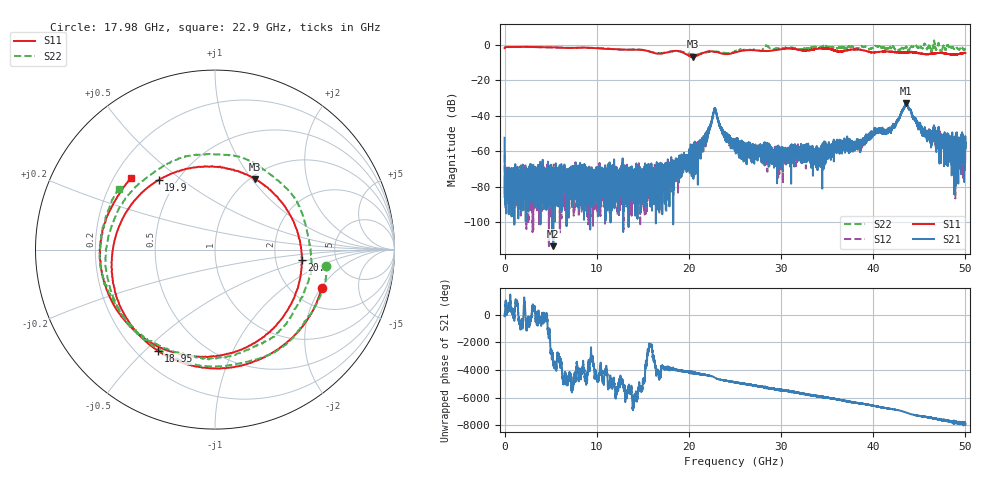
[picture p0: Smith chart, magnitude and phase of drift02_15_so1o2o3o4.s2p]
!Created with skrf (http://scikit-rf.org).
# Hz S RI R 50.0
!freq ReS11 ImS11 ReS21 ImS21 ReS12 ImS12 ReS22 ImS22
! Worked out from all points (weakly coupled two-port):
!   10001 points, 300 kHz to 50 GHz, reference 50 ohm
!   highest |S21| = -32.88 dB at 43.59 GHz (marker M1); lowest = -113.5 dB at 5.28 GHz (marker M2)
!   lowest |S11| = -6.9 dB at 20.39 GHz (marker M3), VSWR 2.64, Z = 52.8 + j51.8 ohm
!   |S11| at or under -10 dB: nowhere
!   |S22| runs from -5.7 to 2.3 dB; largest |S21 - S12| = 0.0043
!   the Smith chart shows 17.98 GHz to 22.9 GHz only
!   S11 on the Smith chart (normalised r, x): 17.98 GHz: 2.86, -2.03; 18.95 GHz: 0.28, -0.55; 19.9 GHz: 0.40, +0.41; 20.9 GHz: 2.83, -0.44; 22.9 GHz: 0.27, +0.35
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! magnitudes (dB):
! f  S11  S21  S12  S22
! 300 kHz  -2.1  -52.5  -62.2  -2.1
! 260.3 MHz  -1.4  -80.3  -73.5  -1.4
! 5.28 GHz  -1.6  -113.5  -85.4  -1.6
! 8.335 GHz  -1.7  -71.6  -91.4  -1.9
! 16.67 GHz  -5.2  -67.0  -70.1  -4.8
! 17.98 GHz  -4.0  -73.9  -67.1  -4.0
! 18.95 GHz  -3.8  -71.4  -63.9  -3.9
! 19.9 GHz  -6.0  -65.9  -65.0  -5.2
! 20.39 GHz  -6.9  -62.0  -60.3  -5.5
! 20.9 GHz  -6.2  -62.3  -57.3  -5.6
! 21.74 GHz  -4.3  -54.4  -53.8  -4.5
! 22.9 GHz  -4.2  -36.9  -36.9  -4.0
! 23.72 GHz  -5.3  -49.7  -49.8  -4.6
! 25 GHz  -4.5  -59.2  -57.0  -3.9
! 29.92 GHz  -2.7  -64.9  -66.4  -2.0
! 33.34 GHz  -3.1  -58.5  -59.3  -1.5
! 37.97 GHz  -2.8  -56.7  -56.9  -1.9
! 41.67 GHz  -4.0  -47.4  -48.0  -1.9
! 43.59 GHz  -4.6  -32.9  -33.4  -1.3
! 45.63 GHz  -5.4  -48.9  -48.2  0.1
! 48.67 GHz  -5.7  -54.4  -56.5  -1.7
! 50 GHz  -4.7  -55.6  -56.1  -2.6
